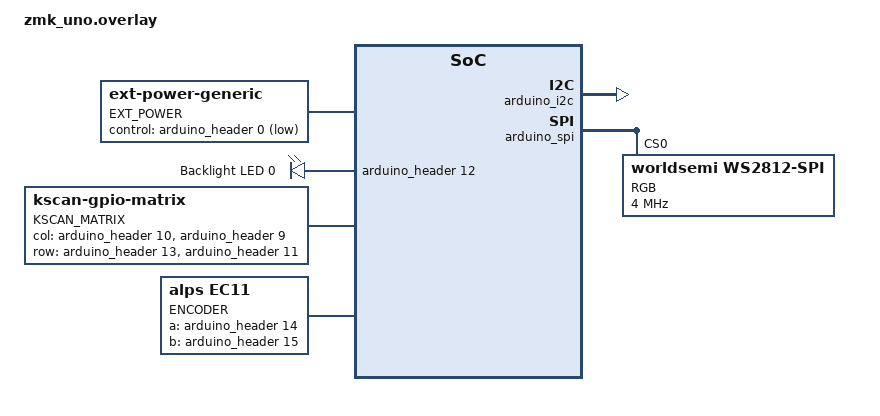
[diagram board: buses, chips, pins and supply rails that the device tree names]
/*
 * Copyright (c) 2022 The ZMK Contributors
 *
 * SPDX-License-Identifier: MIT
 */

#include <dt-bindings/led/led.h>

&arduino_i2c {
	status = "okay";
};

&arduino_spi {
	status = "okay";

	led_strip: ws2812@0 {
		compatible = "worldsemi,ws2812-spi";
		label = "RGB";

		/* SPI */
		reg = <0>; /* ignored, but necessary for SPI bindings */
		spi-max-frequency = <4000000>;

		/* WS2812 */
		chain-length = <7>; /* 4 underglow + 3 per-key LEDs */
		spi-one-frame = <0x70>;
		spi-zero-frame = <0x40>;

		color-mapping = <LED_COLOR_ID_GREEN LED_COLOR_ID_RED LED_COLOR_ID_BLUE>;
	};
};

/ {
	chosen {
		zmk,kscan = &kscan_matrix;
		zmk,backlight = &backlight;
		zmk,underglow = &led_strip;
	};

	ext-power {
		compatible = "zmk,ext-power-generic";
		label = "EXT_POWER";
		init-delay-ms = <200>;
		control-gpios = <&arduino_header 0 GPIO_ACTIVE_LOW>;
	};

	backlight: gpioleds {
		compatible = "gpio-leds";
		label = "Backlight LEDs";
		gpio_led_0 {
			gpios = <&arduino_header 12 GPIO_ACTIVE_HIGH>;
			label = "Backlight LED 0";
		};
	};

	kscan_matrix: kscan_matrix {
		compatible = "zmk,kscan-gpio-matrix";

		label = "KSCAN_MATRIX";

		diode-direction = "col2row";

		col-gpios
			= <&arduino_header 10 GPIO_ACTIVE_HIGH>
			, <&arduino_header 9  GPIO_ACTIVE_HIGH>
			;

		row-gpios
			= <&arduino_header 13 (GPIO_ACTIVE_HIGH | GPIO_PULL_DOWN)>
			, <&arduino_header 11 (GPIO_ACTIVE_HIGH | GPIO_PULL_DOWN)>
			;

	};

	kscan_direct: kscan_direct {
		compatible = "zmk,kscan-gpio-direct";
		status = "disabled";

		label = "KSCAN_DIRECT";

		input-gpios
			= <&arduino_header 10 (GPIO_ACTIVE_LOW | GPIO_PULL_UP)>
			, <&arduino_header 9  (GPIO_ACTIVE_LOW | GPIO_PULL_UP)>
			, <&arduino_header 13 (GPIO_ACTIVE_LOW | GPIO_PULL_UP)>
			, <&arduino_header 11 (GPIO_ACTIVE_LOW | GPIO_PULL_UP)>
			;

	};

	encoder: encoder {
		label = "ENCODER";
		resolution = <4>;
		compatible = "alps,ec11";
		a-gpios = <&arduino_header 14 GPIO_PULL_UP>;
		b-gpios = <&arduino_header 15 GPIO_PULL_UP>;
	};

	sensors {
		compatible = "zmk,keymap-sensors";
		sensors = <&encoder>;
	};

};
